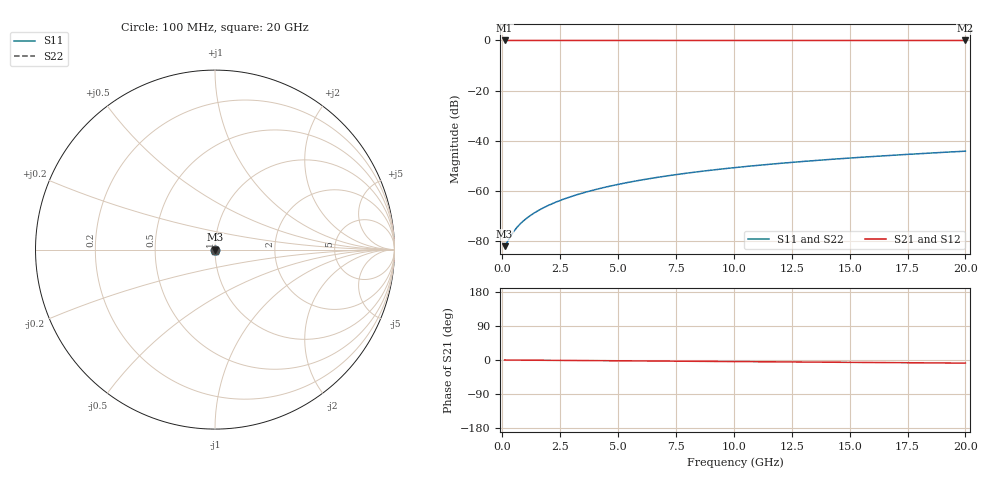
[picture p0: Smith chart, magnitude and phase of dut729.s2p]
! Touchstone file exported from HFSS 2026.1.0
!  File:  C:/ffzhzh/LocalFiles/Ansys_Project_Files/temp_train_TSV_729_1783182503_22436.aedt
!  Generated:  12:29:40 AM Jul  5, 2026
!  Design:  TSV
!  Project:  temp_train_TSV_729_1783182503_22436
! Variables:
!  h_bsmrdl = 2um
!  h_ox = 20um
!  h_rdl = 5um
!  h_sub = 81.23um
!  h_tmrdl = 5um
!  h_tsv = 81.23um
!  h_via = 3um
!  l_bsmrdl = 300um
!  l_sub = 427.84um
!  l_tmrdl = 200um
!  m_sub = 200um
!  pitch = 53.14um
!  r_tsv = 13.92um
!  s_tmrdl = 10um
!  w_bsmrdl = 18um
!  w_sub = 500um
!  w_tmrdl = 12um
!  x_tsv_center1 = 206um
!  x_tsv_center2 = 524um
!  x_tsv_center3 = 736um
!  x_tsv_center4 = 1054um
!  x_tsv_center5 = 1266um
!  x_tsv_center6 = 1584um
# GHz S MA R 50.000000
! Terminal data exported
! Port[1] = TSV1_1_T1
! Port[2] = TSV1_1_T2
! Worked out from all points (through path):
!   200 points, 100 MHz to 20 GHz, reference 50 ohm
!   highest |S21| = 0.00 dB at 100 MHz (marker M1); lowest = 0.0 dB at 20 GHz (marker M2)
!   group delay of S21, straight-line fit = 1.14 ps
!   lowest |S11| = -81.9 dB at 100 MHz (marker M3), VSWR 1.00, Z = 50 + j0.00107 ohm
!   |S11| at or under -10 dB: start of sweep to end of sweep
!   |S22| runs from -81.9 to -44.1 dB; largest |S21 - S12| = 3.8e-15
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0.1  8.014e-05 7.7  0.9999 -0.0  0.9999 -0.0  8.014e-05 7.7
! Gamma 0 0 0 0
! Port Impedance 50 0 50 0
0.2  9.454e-05 10.9  0.9999 -0.1  0.9999 -0.1  9.454e-05 10.9
0.3  0.000114 9.5  0.9999 -0.1  0.9999 -0.1  0.000114 9.5
0.5  0.0001585 0.2  0.9998 -0.2  0.9998 -0.2  0.0001585 0.2
0.6  0.0001816 -5.3  0.9998 -0.3  0.9998 -0.3  0.0001816 -5.3
0.8  0.0002284 -15.9  0.9998 -0.3  0.9998 -0.3  0.0002284 -15.9
1.1  0.0002996 -28.8  0.9997 -0.5  0.9997 -0.5  0.0002996 -28.8
1.4  0.0003722 -38.1  0.9997 -0.6  0.9997 -0.6  0.0003722 -38.1
1.8  0.0004715 -46.9  0.9997 -0.8  0.9997 -0.8  0.0004715 -46.9
2.3  0.0005999 -54.2  0.9996 -1.0  0.9996 -1.0  0.0005999 -54.2
2.9  0.0007597 -59.9  0.9996 -1.2  0.9996 -1.2  0.0007597 -59.9
3.5  0.0009254 -63.8  0.9996 -1.5  0.9996 -1.5  0.0009254 -63.8
4.2  0.001125 -67.1  0.9995 -1.7  0.9995 -1.7  0.001125 -67.1
5  0.001361 -69.9  0.9995 -2.1  0.9995 -2.1  0.001361 -69.9
5.9  0.001633 -72.4  0.9994 -2.4  0.9994 -2.4  0.001633 -72.4
6.8  0.001912 -74.4  0.9994 -2.8  0.9994 -2.8  0.001912 -74.4
8.3  0.002384 -77.2  0.9993 -3.4  0.9993 -3.4  0.002384 -77.2
10.1  0.002959 -79.8  0.9993 -4.2  0.9993 -4.2  0.002959 -79.8
11.7  0.003477 -81.7  0.9992 -4.8  0.9992 -4.8  0.003477 -81.7
13.4  0.004031 -83.5  0.9991 -5.5  0.9991 -5.5  0.004031 -83.5
16.7  0.005124 -86.3  0.999 -6.9  0.999 -6.9  0.005124 -86.3
20  0.006243 -88.7  0.9989 -8.2  0.9989 -8.2  0.006243 -88.7
